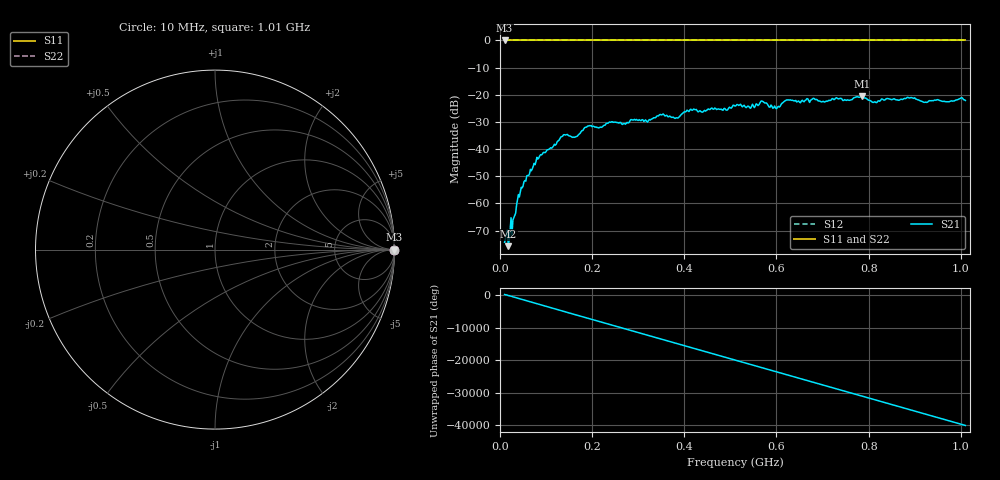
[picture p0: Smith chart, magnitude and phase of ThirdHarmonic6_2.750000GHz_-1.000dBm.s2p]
! 8/17/2025 6:52:40 AM
! C:\ANRITSUVNA\TEMP\TEMP.S2P
! CHANNEL.1
! TR.MEASUREMENT
! RAW.DATA
! RF.CORRECTION.OFF
! AVERAGING.OFF
! IF.BANDWIDTH: 5KHZ
! SWEEPTYPE:  FREQ.SWEEP(Linear)
! Reference Plane Port Info
! PORT:  PORT1  PORT2
! DISTANCE:  0  m  0  m
! TIME:  0  s  0  s
! PHASE.OFFSET:  0  deg.  0  deg.
! LOSS:  0  dB  0  dB
! REF.LOSS:  0  dB  0  dB
! REF.FREQ:  0  Hz  0  Hz
! Power Info
! POWER:  -20  dBm  -20  dBm
! EFF.POWER:  -20  dBm  -20  dBm
! SOURCE.ATTEN:  0  dB  0  dB
! TEST.ATTEN:  0  dB  0  dB
# GHZ S RI R 50.0
! FREQ.GHZ  S11RE  S11IM  S21RE  S21IM  S12RE  S12IM  S22RE  S22IM
!; PortSelection: Port_12
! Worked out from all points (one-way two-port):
!   501 points, 10 MHz to 1.01 GHz, reference 50 ohm
!   highest |S21| = -20.53 dB at 786 MHz (marker M1); lowest = -75.8 dB at 18 MHz (marker M2)
!   lowest |S11| = 0.0 dB at 10 MHz (marker M3)
!   |S11| at or under -10 dB: nowhere
!   |S22| runs from 0.0 to 0.0 dB; largest |S21 - S12| = 1.1
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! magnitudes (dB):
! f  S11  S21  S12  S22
! 10 MHz  0.0  -74.3  0.0  0.0
! 18 MHz  0.0  -75.8  0.0  0.0
! 30 MHz  0.0  -65.3  0.0  0.0
! 44 MHz  0.0  -56.0  0.0  0.0
! 84 MHz  0.0  -43.4  0.0  0.0
! 136 MHz  0.0  -35.2  0.0  0.0
! 162 MHz  0.0  -35.7  0.0  0.0
! 178 MHz  0.0  -33.2  0.0  0.0
! 194 MHz  0.0  -31.4  0.0  0.0
! 322 MHz  0.0  -29.6  0.0  0.0
! 344 MHz  0.0  -27.8  0.0  0.0
! 384 MHz  0.0  -28.5  0.0  0.0
! 416 MHz  0.0  -25.7  0.0  0.0
! 510 MHz  0.0  -24.2  0.0  0.0
! 570 MHz  0.0  -22.4  0.0  0.0
! 596 MHz  0.0  -24.2  0.0  0.0
! 622 MHz  0.0  -21.9  0.0  0.0
! 678 MHz  0.0  -21.6  0.0  0.0
! 786 MHz  0.0  -20.5  0.0  0.0
! 812 MHz  0.0  -22.7  0.0  0.0
! 844 MHz  0.0  -21.5  0.0  0.0
! 1.01 GHz  0.0  -22.1  0.0  0.0
